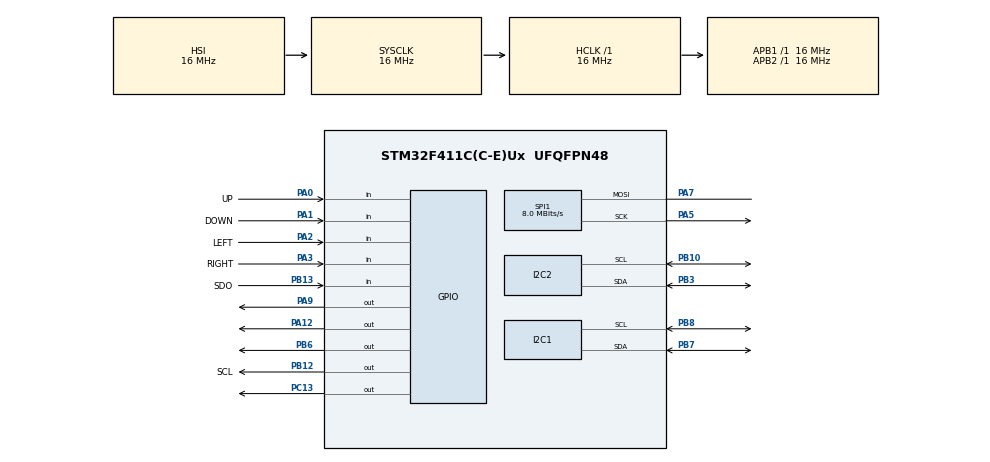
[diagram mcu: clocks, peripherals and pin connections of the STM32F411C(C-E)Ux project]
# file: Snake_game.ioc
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Mcu.Family=STM32F4
Mcu.Name=STM32F411C(C-E)Ux
Mcu.Package=UFQFPN48
NVIC.PriorityGroup=NVIC_PRIORITYGROUP_4
NVIC.TIM1_TRG_COM_TIM11_IRQn=true\:0\:0\:false\:false\:true\:true\:true\:true
NVIC.TIM2_IRQn=true\:0\:0\:false\:false\:true\:true\:true\:true
PA0-WKUP.GPIO_Label=UP
PA0-WKUP.GPIO_PuPd=GPIO_PULLDOWN
PA0-WKUP.Signal=GPIO_Input
PA1.GPIO_Label=DOWN
PA1.GPIO_PuPd=GPIO_PULLDOWN
PA1.Signal=GPIO_Input
PA12.Signal=GPIO_Output
PA2.GPIO_Label=LEFT
PA2.GPIO_PuPd=GPIO_PULLDOWN
PA2.Signal=GPIO_Input
PA3.GPIO_Label=RIGHT
PA3.GPIO_PuPd=GPIO_PULLDOWN
PA3.Signal=GPIO_Input
PA5.Mode=Simplex_Bidirectional_Master
PA5.Signal=SPI1_SCK
PA7.Mode=Simplex_Bidirectional_Master
PA7.Signal=SPI1_MOSI
PA9.Signal=GPIO_Output
PB10.Mode=I2C
PB10.Signal=I2C2_SCL
PB12.GPIO_Label=SCL
PB12.Signal=GPIO_Output
PB13.GPIO_Label=SDO
PB13.GPIO_Mode=GPIO_MODE_INPUT
PB13.GPIO_PuPd=GPIO_PULLDOWN
PB13.Signal=GPIO_Input
PB3.Mode=I2C
PB3.Signal=I2C2_SDA
PB6.Signal=GPIO_Output
PB7.Mode=I2C
PB7.Signal=I2C1_SDA
PB8.Mode=I2C
PB8.Signal=I2C1_SCL
PC13-ANTI_TAMP.Signal=GPIO_Output
ProjectManager.HeapSize=0x200
ProjectManager.StackSize=0x400
ProjectManager.TargetToolchain=STM32CubeIDE
RCC.AHBFreq_Value=16000000
RCC.APB1Freq_Value=16000000
RCC.APB2Freq_Value=16000000
RCC.APB2TimCLKDivider=1
RCC.APB2TimFreq_Value=16000000
RCC.CortexFreq_Value=16000000
RCC.HSE_VALUE=25000000
RCC.HSI_VALUE=16000000
RCC.LSE_VALUE=32768
RCC.SYSCLKFreq_VALUE=16000000
RCC.VCOOutputFreq_Value=192000000
SPI1.CalculateBaudRate=8.0 MBits/s
SPI1.Direction=SPI_DIRECTION_1LINE
SPI1.Mode=SPI_MODE_MASTER
SPI1.VirtualType=VM_MASTER
TIM11.Period=16000-1
TIM11.Prescaler=100-1
TIM2.Period=7999
TIM2.Prescaler=1000-1
TIM5.Prescaler=15
VP_TIM11_VS_ClockSourceINT.Mode=Enable_Timer
VP_TIM2_VS_ClockSourceINT.Mode=Internal
VP_TIM5_VS_ClockSourceINT.Mode=Internal
board=custom

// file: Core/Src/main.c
/* USER CODE BEGIN Header */
/**
  ******************************************************************************
  * @file           : main.c
  * @brief          : Main program body
  ******************************************************************************
  * @attention
  *
  * Copyright (c) 2022 STMicroelectronics.
  * All rights reserved.
  *
  * This software is licensed under terms that can be found in the LICENSE file
  * in the root directory of this software component.
  * If no LICENSE file comes with this software, it is provided AS-IS.
  *
  ******************************************************************************
  */
/* USER CODE END Header */
#include "main.h"

/* USER CODE BEGIN Includes */
#include "ST7735.h"
#include "GFX_FUNCTIONS.h"
#include "snake.h"
#include <stdio.h>
#include "readGesture.h"
#include "keyboard.h"
/* USER CODE END Includes */

I2C_HandleTypeDef hi2c1;
I2C_HandleTypeDef hi2c2;

SPI_HandleTypeDef hspi1;

TIM_HandleTypeDef htim2;
TIM_HandleTypeDef htim5;
TIM_HandleTypeDef htim11;

/* USER CODE BEGIN PV */
extern int snakeBody[384];
extern int xApplePosition;
extern int yApplePosition;
int destinationFlag;
int nextMove = 1;
int gameOverFlag = 0;
char score[2];
extern void initialise_monitor_handles(void);
/* USER CODE END PV */

void SystemClock_Config(void);
static void MX_GPIO_Init(void);
static void MX_SPI1_Init(void);
static void MX_TIM11_Init(void);
static void MX_I2C1_Init(void);
static void MX_TIM2_Init(void);
static void MX_I2C2_Init(void);
static void MX_TIM5_Init(void);
/* USER CODE BEGIN PFP */
int array[6];
int moveFlag =0;
/* USER CODE END PFP */

/* USER CODE BEGIN 0 */
bool dbFlag = 0;
int decodeButtons(int destinationFlag){
	int destination = destinationFlag;
	if(HAL_GPIO_ReadPin(UP_GPIO_Port, UP_Pin)==1 && (dbFlag == 0) && destination != 0){
		destination = 3;
		printf("DBUTTON UP \n");
		dbFlag = 1;
		HAL_Delay(100);
		return destination;
	}
	else if(HAL_GPIO_ReadPin(DOWN_GPIO_Port, DOWN_Pin)==1 && (dbFlag == 0) && destination != 3){
			destination = 0;
			printf("DBUTTON DOWN \n");
			dbFlag = 1;
			HAL_Delay(100);
			return destination;
		}
	else if(HAL_GPIO_ReadPin(LEFT_GPIO_Port, LEFT_Pin)==1 && (dbFlag == 0)&& destination != 1){
			destination = 2;
			printf("DBUTTON LEFT \n");
			dbFlag = 1;
			HAL_Delay(100);
			return destination;
		}
	else if(HAL_GPIO_ReadPin(RIGHT_GPIO_Port, RIGHT_Pin)==1 && (dbFlag == 0) && destination != 2){
			destination = 1;
			printf("DBUTTON RIGHT \n");
			dbFlag = 1;
			HAL_Delay(100);
			return destination;
		}
	else
	{
		dbFlag = 0;
	}

		return destination;
}
void snakeInitialization(){
	ST7735_Init(0);
	fillScreen(BLACK);
	fillRect(4, 0, 120, 160, GREEN);
	ST7735_SetRotation(2);
	snakeInit();
	initApple();
	destinationFlag = 1;
	initialise_monitor_handles();
	HAL_TIM_Base_Start_IT(&htim2);

}
/* USER CODE END 0 */

int main(void)
{

  /* MCU Configuration--------------------------------------------------------*/

  /* Reset of all peripherals, Initializes the Flash interface and the Systick. */
  HAL_Init();

  /* Configure the system clock */
  SystemClock_Config();

  /* Initialize all configured peripherals */
  MX_GPIO_Init();
  MX_SPI1_Init();
  MX_TIM11_Init();
  MX_I2C1_Init();
  MX_TIM2_Init();
  MX_I2C2_Init();
  MX_TIM5_Init();
  /* USER CODE BEGIN 2 */

//	ST7735_Init(0);
//	fillScreen(BLACK);
//	fillRect(4, 0, 120, 160, GREEN); //tutaj tez by było spoko uzyc DMA ale czy na pewno warto psuc funckje biblioteki?
//	ST7735_SetRotation(2);
//	snakeInit();
//	initApple();
//	destinationFlag = 1;
//	initialise_monitor_handles();
//	HAL_TIM_Base_Start_IT(&htim2);
	//initGesture(&hi2c2);

  snakeInitialization();

  /* USER CODE END 2 */

  /* Infinite loop */
  /* USER CODE BEGIN WHILE */
  while (1)
  {

	 //readGesture();
	 //destinationFlag = decodeGesture(destinationFlag);
	 destinationFlag = decodeButtons(destinationFlag);
	 gameOverFlag = checkIfHitWall();
	 drawSnake();//warto zaciągnać DMA - chyba
	 drawApple(xApplePosition,yApplePosition);
	 checkIfAppleWasEatan();
	 if(moveFlag){
		 move(destinationFlag);
		 moveFlag = 0;
	 }
	 if(gameOverFlag){
		 HAL_TIM_Base_Stop(&htim2);
		 		fillScreen(BLACK);
		 		ST7735_WriteString(30, 55, "GAME     OVER", Font_16x26, YELLOW,BLACK);
		 		HAL_Delay(1000);
		 		fillScreen(BLACK);
		 		int scoreInt = getBodyIndex() - 3;
		 		itoa(scoreInt,score,10);
		 		while(HAL_GPIO_ReadPin(UP_GPIO_Port, UP_Pin)==0){
		 		//ST7735_WriteString(10, 55, "SCORE: %d",destinationFlag, Font_8x13, YELLOW,BLACK);
		 			ST7735_WriteString(10,95, "To play again", Font_7x10, YELLOW,BLACK);
		 			ST7735_WriteString(10,105, "press button UP", Font_7x10, YELLOW,BLACK);
		 			ST7735_WriteString(20,45, "SCORE:", Font_11x18, GREEN,BLACK);
		 			ST7735_WriteString(90,45, score,Font_11x18, GREEN,BLACK);
		 		}
		 		gameOverFlag = 0;
		 		snakeInitialization();
	 }

    /* USER CODE END WHILE */

  }
}

void SystemClock_Config(void)
{
  RCC_OscInitTypeDef RCC_OscInitStruct = {0};
  RCC_ClkInitTypeDef RCC_ClkInitStruct = {0};

  /** Configure the main internal regulator output voltage
  */
  __HAL_RCC_PWR_CLK_ENABLE();
  __HAL_PWR_VOLTAGESCALING_CONFIG(PWR_REGULATOR_VOLTAGE_SCALE1);

  /** Initializes the RCC Oscillators according to the specified parameters
  * in the RCC_OscInitTypeDef structure.
  */
  RCC_OscInitStruct.OscillatorType = RCC_OSCILLATORTYPE_HSI;
  RCC_OscInitStruct.HSIState = RCC_HSI_ON;
  RCC_OscInitStruct.HSICalibrationValue = RCC_HSICALIBRATION_DEFAULT;
  RCC_OscInitStruct.PLL.PLLState = RCC_PLL_NONE;
  if (HAL_RCC_OscConfig(&RCC_OscInitStruct) != HAL_OK)
  {
    Error_Handler();
  }

  /** Initializes the CPU, AHB and APB buses clocks
  */
  RCC_ClkInitStruct.ClockType = RCC_CLOCKTYPE_HCLK|RCC_CLOCKTYPE_SYSCLK
                              |RCC_CLOCKTYPE_PCLK1|RCC_CLOCKTYPE_PCLK2;
  RCC_ClkInitStruct.SYSCLKSource = RCC_SYSCLKSOURCE_HSI;
  RCC_ClkInitStruct.AHBCLKDivider = RCC_SYSCLK_DIV1;
  RCC_ClkInitStruct.APB1CLKDivider = RCC_HCLK_DIV1;
  RCC_ClkInitStruct.APB2CLKDivider = RCC_HCLK_DIV1;

  if (HAL_RCC_ClockConfig(&RCC_ClkInitStruct, FLASH_LATENCY_0) != HAL_OK)
  {
    Error_Handler();
  }
}

static void MX_I2C1_Init(void)
{

  hi2c1.Instance = I2C1;
  hi2c1.Init.ClockSpeed = 100000;
  hi2c1.Init.DutyCycle = I2C_DUTYCYCLE_2;
  hi2c1.Init.OwnAddress1 = 0;
  hi2c1.Init.AddressingMode = I2C_ADDRESSINGMODE_7BIT;
  hi2c1.Init.DualAddressMode = I2C_DUALADDRESS_DISABLE;
  hi2c1.Init.OwnAddress2 = 0;
  hi2c1.Init.GeneralCallMode = I2C_GENERALCALL_DISABLE;
  hi2c1.Init.NoStretchMode = I2C_NOSTRETCH_DISABLE;
  if (HAL_I2C_Init(&hi2c1) != HAL_OK)
  {
    Error_Handler();
  }

}

static void MX_I2C2_Init(void)
{

  hi2c2.Instance = I2C2;
  hi2c2.Init.ClockSpeed = 100000;
  hi2c2.Init.DutyCycle = I2C_DUTYCYCLE_2;
  hi2c2.Init.OwnAddress1 = 0;
  hi2c2.Init.AddressingMode = I2C_ADDRESSINGMODE_7BIT;
  hi2c2.Init.DualAddressMode = I2C_DUALADDRESS_DISABLE;
  hi2c2.Init.OwnAddress2 = 0;
  hi2c2.Init.GeneralCallMode = I2C_GENERALCALL_DISABLE;
  hi2c2.Init.NoStretchMode = I2C_NOSTRETCH_DISABLE;
  if (HAL_I2C_Init(&hi2c2) != HAL_OK)
  {
    Error_Handler();
  }

}

static void MX_SPI1_Init(void)
{

  /* SPI1 parameter configuration*/
  hspi1.Instance = SPI1;
  hspi1.Init.Mode = SPI_MODE_MASTER;
  hspi1.Init.Direction = SPI_DIRECTION_1LINE;
  hspi1.Init.DataSize = SPI_DATASIZE_8BIT;
  hspi1.Init.CLKPolarity = SPI_POLARITY_LOW;
  hspi1.Init.CLKPhase = SPI_PHASE_1EDGE;
  hspi1.Init.NSS = SPI_NSS_SOFT;
  hspi1.Init.BaudRatePrescaler = SPI_BAUDRATEPRESCALER_2;
  hspi1.Init.FirstBit = SPI_FIRSTBIT_MSB;
  hspi1.Init.TIMode = SPI_TIMODE_DISABLE;
  hspi1.Init.CRCCalculation = SPI_CRCCALCULATION_DISABLE;
  hspi1.Init.CRCPolynomial = 10;
  if (HAL_SPI_Init(&hspi1) != HAL_OK)
  {
    Error_Handler();
  }

}

static void MX_TIM2_Init(void)
{

  TIM_ClockConfigTypeDef sClockSourceConfig = {0};
  TIM_MasterConfigTypeDef sMasterConfig = {0};

  htim2.Instance = TIM2;
  htim2.Init.Prescaler = 1000-1;
  htim2.Init.CounterMode = TIM_COUNTERMODE_UP;
  htim2.Init.Period = 7999;
  htim2.Init.ClockDivision = TIM_CLOCKDIVISION_DIV1;
  htim2.Init.AutoReloadPreload = TIM_AUTORELOAD_PRELOAD_DISABLE;
  if (HAL_TIM_Base_Init(&htim2) != HAL_OK)
  {
    Error_Handler();
  }
  sClockSourceConfig.ClockSource = TIM_CLOCKSOURCE_INTERNAL;
  if (HAL_TIM_ConfigClockSource(&htim2, &sClockSourceConfig) != HAL_OK)
  {
    Error_Handler();
  }
  sMasterConfig.MasterOutputTrigger = TIM_TRGO_RESET;
  sMasterConfig.MasterSlaveMode = TIM_MASTERSLAVEMODE_DISABLE;
  if (HAL_TIMEx_MasterConfigSynchronization(&htim2, &sMasterConfig) != HAL_OK)
  {
    Error_Handler();
  }

}

static void MX_TIM5_Init(void)
{

  TIM_ClockConfigTypeDef sClockSourceConfig = {0};
  TIM_MasterConfigTypeDef sMasterConfig = {0};

  htim5.Instance = TIM5;
  htim5.Init.Prescaler = 15;
  htim5.Init.CounterMode = TIM_COUNTERMODE_UP;
  htim5.Init.Period = 4294967295;
  htim5.Init.ClockDivision = TIM_CLOCKDIVISION_DIV1;
  htim5.Init.AutoReloadPreload = TIM_AUTORELOAD_PRELOAD_DISABLE;
  if (HAL_TIM_Base_Init(&htim5) != HAL_OK)
  {
    Error_Handler();
  }
  sClockSourceConfig.ClockSource = TIM_CLOCKSOURCE_INTERNAL;
  if (HAL_TIM_ConfigClockSource(&htim5, &sClockSourceConfig) != HAL_OK)
  {
    Error_Handler();
  }
  sMasterConfig.MasterOutputTrigger = TIM_TRGO_RESET;
  sMasterConfig.MasterSlaveMode = TIM_MASTERSLAVEMODE_DISABLE;
  if (HAL_TIMEx_MasterConfigSynchronization(&htim5, &sMasterConfig) != HAL_OK)
  {
    Error_Handler();
  }

}

static void MX_TIM11_Init(void)
{

  htim11.Instance = TIM11;
  htim11.Init.Prescaler = 100-1;
  htim11.Init.CounterMode = TIM_COUNTERMODE_UP;
  htim11.Init.Period = 16000-1;
  htim11.Init.ClockDivision = TIM_CLOCKDIVISION_DIV1;
  htim11.Init.AutoReloadPreload = TIM_AUTORELOAD_PRELOAD_DISABLE;
  if (HAL_TIM_Base_Init(&htim11) != HAL_OK)
  {
    Error_Handler();
  }

}

static void MX_GPIO_Init(void)
{
  GPIO_InitTypeDef GPIO_InitStruct = {0};

  /* GPIO Ports Clock Enable */
  __HAL_RCC_GPIOC_CLK_ENABLE();
  __HAL_RCC_GPIOA_CLK_ENABLE();
  __HAL_RCC_GPIOB_CLK_ENABLE();

  /*Configure GPIO pin Output Level */
  HAL_GPIO_WritePin(GPIOC, GPIO_PIN_13, GPIO_PIN_RESET);

  /*Configure GPIO pin Output Level */
  HAL_GPIO_WritePin(GPIOB, SCL_Pin|GPIO_PIN_6, GPIO_PIN_RESET);

  /*Configure GPIO pin Output Level */
  HAL_GPIO_WritePin(GPIOA, GPIO_PIN_9|GPIO_PIN_12, GPIO_PIN_RESET);

  /*Configure GPIO pin : PC13 */
  GPIO_InitStruct.Pin = GPIO_PIN_13;
  GPIO_InitStruct.Mode = GPIO_MODE_OUTPUT_PP;
  GPIO_InitStruct.Pull = GPIO_NOPULL;
  GPIO_InitStruct.Speed = GPIO_SPEED_FREQ_LOW;
  HAL_GPIO_Init(GPIOC, &GPIO_InitStruct);

  /*Configure GPIO pins : UP_Pin DOWN_Pin LEFT_Pin RIGHT_Pin */
  GPIO_InitStruct.Pin = UP_Pin|DOWN_Pin|LEFT_Pin|RIGHT_Pin;
  GPIO_InitStruct.Mode = GPIO_MODE_INPUT;
  GPIO_InitStruct.Pull = GPIO_PULLDOWN;
  HAL_GPIO_Init(GPIOA, &GPIO_InitStruct);

  /*Configure GPIO pins : SCL_Pin PB6 */
  GPIO_InitStruct.Pin = SCL_Pin|GPIO_PIN_6;
  GPIO_InitStruct.Mode = GPIO_MODE_OUTPUT_PP;
  GPIO_InitStruct.Pull = GPIO_NOPULL;
  GPIO_InitStruct.Speed = GPIO_SPEED_FREQ_LOW;
  HAL_GPIO_Init(GPIOB, &GPIO_InitStruct);

  /*Configure GPIO pin : SDO_Pin */
  GPIO_InitStruct.Pin = SDO_Pin;
  GPIO_InitStruct.Mode = GPIO_MODE_INPUT;
  GPIO_InitStruct.Pull = GPIO_PULLDOWN;
  HAL_GPIO_Init(SDO_GPIO_Port, &GPIO_InitStruct);

  /*Configure GPIO pins : PA9 PA12 */
  GPIO_InitStruct.Pin = GPIO_PIN_9|GPIO_PIN_12;
  GPIO_InitStruct.Mode = GPIO_MODE_OUTPUT_PP;
  GPIO_InitStruct.Pull = GPIO_NOPULL;
  GPIO_InitStruct.Speed = GPIO_SPEED_FREQ_LOW;
  HAL_GPIO_Init(GPIOA, &GPIO_InitStruct);

}

void Error_Handler(void)
{
  __disable_irq();
  while (1)
  {
  }
}
